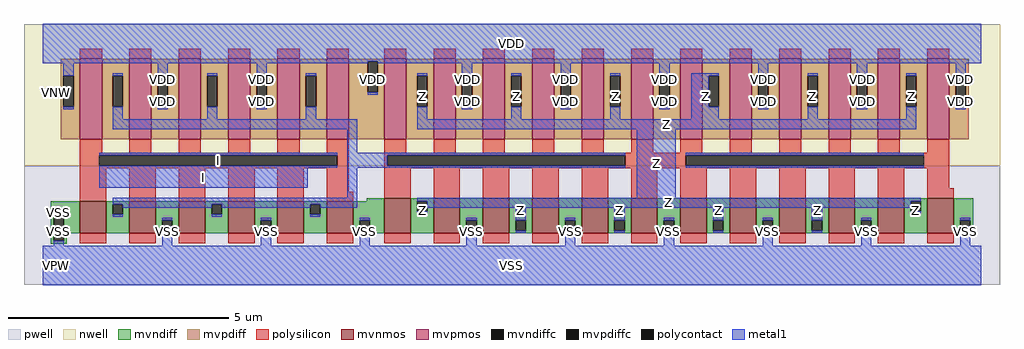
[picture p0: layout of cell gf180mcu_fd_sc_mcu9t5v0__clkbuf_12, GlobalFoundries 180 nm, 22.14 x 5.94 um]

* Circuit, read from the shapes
.subckt gf180mcu_fd_sc_mcu9t5v0__clkbuf_12 I Z VDD VNW VPW VSS
XM1 n1 I VSS VPW nfet_06v0 w=0.73u l=0.6u m=6
XM2 Z n1 VSS VPW nfet_06v0 w=0.8u l=0.6u m=12
XM3 n1 I VDD VNW pfet_06v0 w=1.83u l=0.5u m=6
XM4 Z n1 VDD VNW pfet_06v0 w=1.83u l=0.5u m=12
.ends

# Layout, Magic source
magic
tech gf180mcuD
magscale 1 10
<< nwell >>
rect -86 453 4342 1094
<< pwell >>
rect -86 -86 4342 453
<< mvnmos >>
rect 168 146 288 292
rect 392 146 512 292
rect 616 146 736 292
rect 840 146 960 292
rect 1064 146 1184 292
rect 1288 146 1408 292
rect 1548 146 1668 306
rect 1772 146 1892 306
rect 1996 146 2116 306
rect 2220 146 2340 306
rect 2444 146 2564 306
rect 2668 146 2788 306
rect 2892 146 3012 306
rect 3116 146 3236 306
rect 3340 146 3460 306
rect 3564 146 3684 306
rect 3788 146 3908 306
rect 4012 146 4132 306
<< mvpmos >>
rect 168 573 268 939
rect 392 573 492 939
rect 616 573 716 939
rect 840 573 940 939
rect 1064 573 1164 939
rect 1288 573 1388 939
rect 1548 573 1648 939
rect 1772 573 1872 939
rect 1996 573 2096 939
rect 2220 573 2320 939
rect 2444 573 2544 939
rect 2668 573 2768 939
rect 2892 573 2992 939
rect 3116 573 3216 939
rect 3340 573 3440 939
rect 3564 573 3664 939
rect 3788 573 3888 939
rect 4012 573 4112 939
<< mvndiff >>
rect 1468 292 1548 306
rect 36 252 168 292
rect 36 112 49 252
rect 95 146 168 252
rect 288 279 392 292
rect 288 233 317 279
rect 363 233 392 279
rect 288 146 392 233
rect 512 205 616 292
rect 512 159 541 205
rect 587 159 616 205
rect 512 146 616 159
rect 736 279 840 292
rect 736 233 765 279
rect 811 233 840 279
rect 736 146 840 233
rect 960 205 1064 292
rect 960 159 989 205
rect 1035 159 1064 205
rect 960 146 1064 159
rect 1184 279 1288 292
rect 1184 233 1213 279
rect 1259 233 1288 279
rect 1184 146 1288 233
rect 1408 205 1548 292
rect 1408 159 1437 205
rect 1483 159 1548 205
rect 1408 146 1548 159
rect 1668 293 1772 306
rect 1668 247 1697 293
rect 1743 247 1772 293
rect 1668 146 1772 247
rect 1892 205 1996 306
rect 1892 159 1921 205
rect 1967 159 1996 205
rect 1892 146 1996 159
rect 2116 205 2220 306
rect 2116 159 2145 205
rect 2191 159 2220 205
rect 2116 146 2220 159
rect 2340 205 2444 306
rect 2340 159 2369 205
rect 2415 159 2444 205
rect 2340 146 2444 159
rect 2564 205 2668 306
rect 2564 159 2593 205
rect 2639 159 2668 205
rect 2564 146 2668 159
rect 2788 205 2892 306
rect 2788 159 2817 205
rect 2863 159 2892 205
rect 2788 146 2892 159
rect 3012 205 3116 306
rect 3012 159 3041 205
rect 3087 159 3116 205
rect 3012 146 3116 159
rect 3236 205 3340 306
rect 3236 159 3265 205
rect 3311 159 3340 205
rect 3236 146 3340 159
rect 3460 205 3564 306
rect 3460 159 3489 205
rect 3535 159 3564 205
rect 3460 146 3564 159
rect 3684 205 3788 306
rect 3684 159 3713 205
rect 3759 159 3788 205
rect 3684 146 3788 159
rect 3908 293 4012 306
rect 3908 247 3937 293
rect 3983 247 4012 293
rect 3908 146 4012 247
rect 4132 205 4220 306
rect 4132 159 4161 205
rect 4207 159 4220 205
rect 4132 146 4220 159
rect 95 112 108 146
rect 36 99 108 112
<< mvpdiff >>
rect 80 861 168 939
rect 80 721 93 861
rect 139 721 168 861
rect 80 573 168 721
rect 268 861 392 939
rect 268 721 317 861
rect 363 721 392 861
rect 268 573 392 721
rect 492 861 616 939
rect 492 721 521 861
rect 567 721 616 861
rect 492 573 616 721
rect 716 861 840 939
rect 716 721 745 861
rect 791 721 840 861
rect 716 573 840 721
rect 940 861 1064 939
rect 940 721 969 861
rect 1015 721 1064 861
rect 940 573 1064 721
rect 1164 861 1288 939
rect 1164 721 1193 861
rect 1239 721 1288 861
rect 1164 573 1288 721
rect 1388 926 1548 939
rect 1388 786 1473 926
rect 1519 786 1548 926
rect 1388 573 1548 786
rect 1648 861 1772 939
rect 1648 721 1697 861
rect 1743 721 1772 861
rect 1648 573 1772 721
rect 1872 861 1996 939
rect 1872 721 1901 861
rect 1947 721 1996 861
rect 1872 573 1996 721
rect 2096 861 2220 939
rect 2096 721 2125 861
rect 2171 721 2220 861
rect 2096 573 2220 721
rect 2320 861 2444 939
rect 2320 721 2349 861
rect 2395 721 2444 861
rect 2320 573 2444 721
rect 2544 861 2668 939
rect 2544 721 2573 861
rect 2619 721 2668 861
rect 2544 573 2668 721
rect 2768 861 2892 939
rect 2768 721 2797 861
rect 2843 721 2892 861
rect 2768 573 2892 721
rect 2992 861 3116 939
rect 2992 721 3021 861
rect 3067 721 3116 861
rect 2992 573 3116 721
rect 3216 861 3340 939
rect 3216 721 3245 861
rect 3291 721 3340 861
rect 3216 573 3340 721
rect 3440 861 3564 939
rect 3440 721 3469 861
rect 3515 721 3564 861
rect 3440 573 3564 721
rect 3664 861 3788 939
rect 3664 721 3693 861
rect 3739 721 3788 861
rect 3664 573 3788 721
rect 3888 861 4012 939
rect 3888 721 3917 861
rect 3963 721 4012 861
rect 3888 573 4012 721
rect 4112 861 4200 939
rect 4112 721 4141 861
rect 4187 721 4200 861
rect 4112 573 4200 721
<< mvndiffc >>
rect 49 112 95 252
rect 317 233 363 279
rect 541 159 587 205
rect 765 233 811 279
rect 989 159 1035 205
rect 1213 233 1259 279
rect 1437 159 1483 205
rect 1697 247 1743 293
rect 1921 159 1967 205
rect 2145 159 2191 205
rect 2369 159 2415 205
rect 2593 159 2639 205
rect 2817 159 2863 205
rect 3041 159 3087 205
rect 3265 159 3311 205
rect 3489 159 3535 205
rect 3713 159 3759 205
rect 3937 247 3983 293
rect 4161 159 4207 205
<< mvpdiffc >>
rect 93 721 139 861
rect 317 721 363 861
rect 521 721 567 861
rect 745 721 791 861
rect 969 721 1015 861
rect 1193 721 1239 861
rect 1473 786 1519 926
rect 1697 721 1743 861
rect 1901 721 1947 861
rect 2125 721 2171 861
rect 2349 721 2395 861
rect 2573 721 2619 861
rect 2797 721 2843 861
rect 3021 721 3067 861
rect 3245 721 3291 861
rect 3469 721 3515 861
rect 3693 721 3739 861
rect 3917 721 3963 861
rect 4141 721 4187 861
<< polysilicon >>
rect 168 939 268 983
rect 392 939 492 983
rect 616 939 716 983
rect 840 939 940 983
rect 1064 939 1164 983
rect 1288 939 1388 983
rect 1548 939 1648 983
rect 1772 939 1872 983
rect 1996 939 2096 983
rect 2220 939 2320 983
rect 2444 939 2544 983
rect 2668 939 2768 983
rect 2892 939 2992 983
rect 3116 939 3216 983
rect 3340 939 3440 983
rect 3564 939 3664 983
rect 3788 939 3888 983
rect 4012 939 4112 983
rect 168 513 268 573
rect 392 513 492 573
rect 616 513 716 573
rect 840 513 940 573
rect 1064 513 1164 573
rect 1288 513 1388 573
rect 168 500 1388 513
rect 168 454 255 500
rect 1335 454 1388 500
rect 168 441 1388 454
rect 168 292 288 441
rect 392 292 512 441
rect 616 292 736 441
rect 840 292 960 441
rect 1064 292 1184 441
rect 1288 336 1388 441
rect 1548 513 1648 573
rect 1772 513 1872 573
rect 1996 513 2096 573
rect 2220 513 2320 573
rect 2444 513 2544 573
rect 2668 513 2768 573
rect 2892 513 2992 573
rect 3116 513 3216 573
rect 3340 513 3440 573
rect 3564 513 3664 573
rect 3788 513 3888 573
rect 4012 513 4112 573
rect 1548 500 4112 513
rect 1548 454 1561 500
rect 2641 454 2916 500
rect 3996 454 4112 500
rect 1548 441 4112 454
rect 1288 292 1408 336
rect 1548 306 1668 441
rect 1772 306 1892 441
rect 1996 306 2116 441
rect 2220 306 2340 441
rect 2444 306 2564 441
rect 2668 306 2788 441
rect 2892 306 3012 441
rect 3116 306 3236 441
rect 3340 306 3460 441
rect 3564 306 3684 441
rect 3788 306 3908 441
rect 4012 350 4112 441
rect 4012 306 4132 350
rect 168 102 288 146
rect 392 102 512 146
rect 616 102 736 146
rect 840 102 960 146
rect 1064 102 1184 146
rect 1288 102 1408 146
rect 1548 102 1668 146
rect 1772 102 1892 146
rect 1996 102 2116 146
rect 2220 102 2340 146
rect 2444 102 2564 146
rect 2668 102 2788 146
rect 2892 102 3012 146
rect 3116 102 3236 146
rect 3340 102 3460 146
rect 3564 102 3684 146
rect 3788 102 3908 146
rect 4012 102 4132 146
<< polycontact >>
rect 255 454 1335 500
rect 1561 454 2641 500
rect 2916 454 3996 500
<< metal1 >>
rect 0 926 4256 1098
rect 0 918 1473 926
rect 93 861 139 918
rect 93 710 139 721
rect 317 861 363 872
rect 317 664 363 721
rect 521 861 567 918
rect 521 710 567 721
rect 745 861 791 872
rect 745 664 791 721
rect 969 861 1015 918
rect 969 710 1015 721
rect 1193 861 1239 872
rect 1519 918 4256 926
rect 1473 775 1519 786
rect 1697 861 1743 872
rect 1193 664 1239 721
rect 1697 664 1743 721
rect 1901 861 1947 918
rect 1901 710 1947 721
rect 2125 861 2171 872
rect 2125 664 2171 721
rect 2349 861 2395 918
rect 2349 710 2395 721
rect 2573 861 2619 872
rect 2573 664 2619 721
rect 2797 861 2843 918
rect 2797 710 2843 721
rect 2942 861 3067 872
rect 2942 721 3021 861
rect 2942 664 3067 721
rect 3245 861 3291 918
rect 3245 710 3291 721
rect 3469 861 3515 872
rect 3469 664 3515 721
rect 3693 861 3739 918
rect 3693 710 3739 721
rect 3917 861 3963 872
rect 3917 664 3963 721
rect 4141 861 4187 918
rect 4141 710 4187 721
rect 317 618 1427 664
rect 1697 618 3963 664
rect 1381 511 1427 618
rect 255 500 1335 511
rect 255 443 1335 454
rect 1381 500 2641 511
rect 1381 454 1561 500
rect 1381 443 2641 454
rect 255 354 1202 443
rect 1381 308 1427 443
rect 2693 308 2870 618
rect 2916 500 3996 511
rect 2916 443 3996 454
rect 317 279 1427 308
rect 49 252 95 263
rect 363 262 765 279
rect 317 222 363 233
rect 811 262 1213 279
rect 765 222 811 233
rect 1259 262 1427 279
rect 1697 293 3983 308
rect 1743 262 3937 293
rect 1697 236 1743 247
rect 1213 222 1259 233
rect 49 90 95 112
rect 541 205 587 216
rect 541 90 587 159
rect 989 205 1035 216
rect 989 90 1035 159
rect 1437 205 1483 216
rect 1437 90 1483 159
rect 1921 205 1967 216
rect 1921 90 1967 159
rect 2145 205 2191 262
rect 2145 148 2191 159
rect 2369 205 2415 216
rect 2369 90 2415 159
rect 2593 205 2639 262
rect 2593 148 2639 159
rect 2817 205 2863 216
rect 2817 90 2863 159
rect 3041 205 3087 262
rect 3041 148 3087 159
rect 3265 205 3311 216
rect 3265 90 3311 159
rect 3489 205 3535 262
rect 3937 236 3983 247
rect 3489 148 3535 159
rect 3713 205 3759 216
rect 3713 90 3759 159
rect 4161 205 4207 216
rect 4161 90 4207 159
rect 0 -90 4256 90
<< labels >>
flabel metal1 s 255 443 1335 511 0 FreeSans 200 0 0 0 I
port 1 nsew default input
flabel metal1 s 0 918 4256 1098 0 FreeSans 200 0 0 0 VDD
port 3 nsew power bidirectional abutment
flabel metal1 s 49 216 95 263 0 FreeSans 200 0 0 0 VSS
port 6 nsew ground bidirectional abutment
flabel metal1 s 3917 664 3963 872 0 FreeSans 200 0 0 0 Z
port 2 nsew default output
flabel nwell s 10 734 110 834 0 FreeSans 400 0 0 0 VNW
port 4 nsew power bidirectional
flabel pwell s 10 -50 110 50 0 FreeSans 400 0 0 0 VPW
port 5 nsew ground bidirectional
rlabel metal1 s 255 354 1202 443 1 I
port 1 nsew default input
rlabel metal1 s 3469 664 3515 872 1 Z
port 2 nsew default output
rlabel metal1 s 2942 664 3067 872 1 Z
port 2 nsew default output
rlabel metal1 s 2573 664 2619 872 1 Z
port 2 nsew default output
rlabel metal1 s 2125 664 2171 872 1 Z
port 2 nsew default output
rlabel metal1 s 1697 664 1743 872 1 Z
port 2 nsew default output
rlabel metal1 s 1697 618 3963 664 1 Z
port 2 nsew default output
rlabel metal1 s 2693 308 2870 618 1 Z
port 2 nsew default output
rlabel metal1 s 1697 262 3983 308 1 Z
port 2 nsew default output
rlabel metal1 s 3937 236 3983 262 1 Z
port 2 nsew default output
rlabel metal1 s 3489 236 3535 262 1 Z
port 2 nsew default output
rlabel metal1 s 3041 236 3087 262 1 Z
port 2 nsew default output
rlabel metal1 s 2593 236 2639 262 1 Z
port 2 nsew default output
rlabel metal1 s 2145 236 2191 262 1 Z
port 2 nsew default output
rlabel metal1 s 1697 236 1743 262 1 Z
port 2 nsew default output
rlabel metal1 s 3489 148 3535 236 1 Z
port 2 nsew default output
rlabel metal1 s 3041 148 3087 236 1 Z
port 2 nsew default output
rlabel metal1 s 2593 148 2639 236 1 Z
port 2 nsew default output
rlabel metal1 s 2145 148 2191 236 1 Z
port 2 nsew default output
rlabel metal1 s 4141 775 4187 918 1 VDD
port 3 nsew power bidirectional abutment
rlabel metal1 s 3693 775 3739 918 1 VDD
port 3 nsew power bidirectional abutment
rlabel metal1 s 3245 775 3291 918 1 VDD
port 3 nsew power bidirectional abutment
rlabel metal1 s 2797 775 2843 918 1 VDD
port 3 nsew power bidirectional abutment
rlabel metal1 s 2349 775 2395 918 1 VDD
port 3 nsew power bidirectional abutment
rlabel metal1 s 1901 775 1947 918 1 VDD
port 3 nsew power bidirectional abutment
rlabel metal1 s 1473 775 1519 918 1 VDD
port 3 nsew power bidirectional abutment
rlabel metal1 s 969 775 1015 918 1 VDD
port 3 nsew power bidirectional abutment
rlabel metal1 s 521 775 567 918 1 VDD
port 3 nsew power bidirectional abutment
rlabel metal1 s 93 775 139 918 1 VDD
port 3 nsew power bidirectional abutment
rlabel metal1 s 4141 710 4187 775 1 VDD
port 3 nsew power bidirectional abutment
rlabel metal1 s 3693 710 3739 775 1 VDD
port 3 nsew power bidirectional abutment
rlabel metal1 s 3245 710 3291 775 1 VDD
port 3 nsew power bidirectional abutment
rlabel metal1 s 2797 710 2843 775 1 VDD
port 3 nsew power bidirectional abutment
rlabel metal1 s 2349 710 2395 775 1 VDD
port 3 nsew power bidirectional abutment
rlabel metal1 s 1901 710 1947 775 1 VDD
port 3 nsew power bidirectional abutment
rlabel metal1 s 969 710 1015 775 1 VDD
port 3 nsew power bidirectional abutment
rlabel metal1 s 521 710 567 775 1 VDD
port 3 nsew power bidirectional abutment
rlabel metal1 s 93 710 139 775 1 VDD
port 3 nsew power bidirectional abutment
rlabel metal1 s 4161 90 4207 216 1 VSS
port 6 nsew ground bidirectional abutment
rlabel metal1 s 3713 90 3759 216 1 VSS
port 6 nsew ground bidirectional abutment
rlabel metal1 s 3265 90 3311 216 1 VSS
port 6 nsew ground bidirectional abutment
rlabel metal1 s 2817 90 2863 216 1 VSS
port 6 nsew ground bidirectional abutment
rlabel metal1 s 2369 90 2415 216 1 VSS
port 6 nsew ground bidirectional abutment
rlabel metal1 s 1921 90 1967 216 1 VSS
port 6 nsew ground bidirectional abutment
rlabel metal1 s 1437 90 1483 216 1 VSS
port 6 nsew ground bidirectional abutment
rlabel metal1 s 989 90 1035 216 1 VSS
port 6 nsew ground bidirectional abutment
rlabel metal1 s 541 90 587 216 1 VSS
port 6 nsew ground bidirectional abutment
rlabel metal1 s 49 90 95 216 1 VSS
port 6 nsew ground bidirectional abutment
rlabel metal1 s 0 -90 4256 90 1 VSS
port 6 nsew ground bidirectional abutment
<< properties >>
string FIXED_BBOX 0 0 4256 1008
string GDS_END 1412902
string GDS_FILE $PDKPATH/libs.ref/gf180mcu_fd_sc_mcu9t5v0/gds/gf180mcu_fd_sc_mcu9t5v0.gds
string GDS_START 1402736
string LEFclass core
string LEFsite GF018hv5v_green_sc9
string LEFsymmetry X Y
<< end >>
